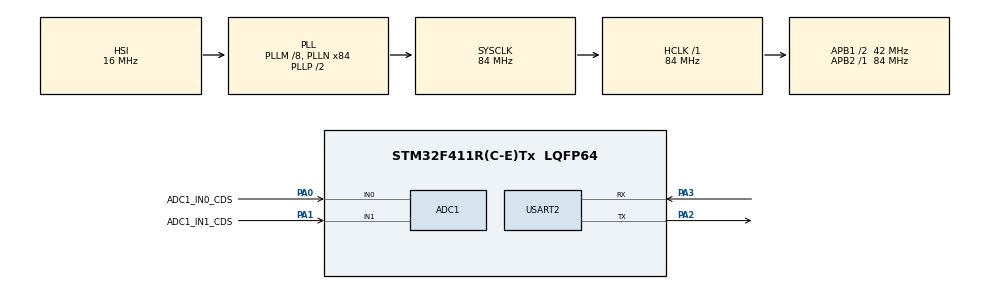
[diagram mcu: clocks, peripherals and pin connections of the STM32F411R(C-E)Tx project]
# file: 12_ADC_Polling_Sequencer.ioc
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ADC1.Channel-0\#ChannelRegularConversion=ADC_CHANNEL_0
ADC1.Channel-1\#ChannelRegularConversion=ADC_CHANNEL_0
ADC1.ContinuousConvMode=ENABLE
ADC1.NbrOfConversion=2
ADC1.NbrOfConversionFlag=1
ADC1.Rank-0\#ChannelRegularConversion=1
ADC1.Rank-1\#ChannelRegularConversion=2
ADC1.SamplingTime-0\#ChannelRegularConversion=ADC_SAMPLETIME_15CYCLES
ADC1.SamplingTime-1\#ChannelRegularConversion=ADC_SAMPLETIME_15CYCLES
ADC1.ScanConvMode=ENABLE
ADC1.master=1
Mcu.Family=STM32F4
Mcu.Name=STM32F411R(C-E)Tx
Mcu.Package=LQFP64
NVIC.PriorityGroup=NVIC_PRIORITYGROUP_4
PA0-WKUP.GPIO_Label=ADC1_IN0_CDS
PA0-WKUP.Signal=ADCx_IN0
PA1.GPIO_Label=ADC1_IN1_CDS
PA1.Signal=ADCx_IN1
PA13.Mode=Serial_Wire
PA13.Signal=SYS_JTMS-SWDIO
PA14.Mode=Serial_Wire
PA14.Signal=SYS_JTCK-SWCLK
PA2.Mode=Asynchronous
PA2.Signal=USART2_TX
PA3.Mode=Asynchronous
PA3.Signal=USART2_RX
ProjectManager.HeapSize=0x200
ProjectManager.StackSize=0x400
ProjectManager.TargetToolchain=STM32CubeIDE
RCC.48MHZClocksFreq_Value=42000000
RCC.AHBFreq_Value=84000000
RCC.APB1CLKDivider=RCC_HCLK_DIV2
RCC.APB1Freq_Value=42000000
RCC.APB1TimFreq_Value=84000000
RCC.APB2Freq_Value=84000000
RCC.APB2TimFreq_Value=84000000
RCC.CortexFreq_Value=84000000
RCC.HCLKFreq_Value=84000000
RCC.HSE_VALUE=25000000
RCC.HSI_VALUE=16000000
RCC.LSE_VALUE=32768
RCC.PLLM=8
RCC.PLLN=84
RCC.SYSCLKFreq_VALUE=84000000
RCC.SYSCLKSource=RCC_SYSCLKSOURCE_PLLCLK
RCC.VCOOutputFreq_Value=168000000
SH.ADCx_IN0.0=ADC1_IN0,IN0
SH.ADCx_IN1.0=ADC1_IN1,IN1
USART2.VirtualMode=VM_ASYNC
board=custom

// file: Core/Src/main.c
/* USER CODE BEGIN Header */
/**
  ******************************************************************************
  * @file           : main.c
  * @brief          : Main program body
  ******************************************************************************
  * @attention
  *
  * Copyright (c) 2024 STMicroelectronics.
  * All rights reserved.
  *
  * This software is licensed under terms that can be found in the LICENSE file
  * in the root directory of this software component.
  * If no LICENSE file comes with this software, it is provided AS-IS.
  *
  ******************************************************************************
  */
/* USER CODE END Header */
#include "main.h"

ADC_HandleTypeDef hadc1;

UART_HandleTypeDef huart2;

void SystemClock_Config(void);
static void MX_GPIO_Init(void);
static void MX_ADC1_Init(void);
static void MX_USART2_UART_Init(void);

/* USER CODE BEGIN 0 */
#ifdef __GNUC__
/* With GCC, small printf (option LD Linker->Libraries->Small printf
 * set to 'Yes') calls __io_putchar()*/
#define PUTCHAR_PROTOTYPE int __io_putchar(int ch)
#else
#define PUTCHAR_PROTOTYPE int fputc(int ch, FILE *f)
#endif /*__GNUC__*/

/**
 * @brief Retargets the C library printf function to the USART.
 * @param None
 * @retval None
 */
PUTCHAR_PROTOTYPE
{
	/*Place your implementation of fputc here */
	/* e.g. write a character to the USART1 and Loop
	 * until the end of transmission */
	if(ch == '/n')
		HAL_UART_Transmit(&huart2, (uint8_t*) "/r", 1, 0xFFFF);
		HAL_UART_Transmit(&huart2, (uint8_t*) &ch, 1, 0xFFFF);

	return ch;
}
/* USER CODE END 0 */

int main(void)
{

  /* MCU Configuration--------------------------------------------------------*/

  /* Reset of all peripherals, Initializes the Flash interface and the Systick. */
  HAL_Init();

  /* Configure the system clock */
  SystemClock_Config();

  /* Initialize all configured peripherals */
  MX_GPIO_Init();
  MX_ADC1_Init();
  MX_USART2_UART_Init();

  /* Infinite loop */
  /* USER CODE BEGIN WHILE */
  uint16_t uwADCxConvertedValue[2];

//  if (HAL_ADCEx_Calibration_Start(&hadc1) != HAL_OK)
//  {
//	  Error_Handler();
//  }
  while (1)
  { // ?�� 모르겠�?�? ??�?
	  // HAL_ADC_PollForConversion ?���? AD�??�� ?��주고, ?��?�� 조건 �??�� ?�� �? 값을 배열?�� ?��?�� 주는구나~ ?���? ?��?���??��
      if (HAL_ADC_Start (&hadc1) != HAL_OK)
        {
          Error_Handler ();
        }

      for (uint8_t i = 0; i < 2; i++)
        {
          HAL_ADC_PollForConversion (&hadc1, 100);

          if ((HAL_ADC_GetState (&hadc1) & HAL_ADC_STATE_REG_EOC) == HAL_ADC_STATE_REG_EOC)
            {
              uwADCxConvertedValue[i] = HAL_ADC_GetValue (&hadc1);
            }
        }

      HAL_ADC_Stop (&hadc1);
    /* USER CODE END WHILE */

    /* USER CODE BEGIN 3 */
      printf ("VAR=%4d, CDS=%4d\n", uwADCxConvertedValue[0], uwADCxConvertedValue[1]);
      HAL_Delay (100);
  }
  /* USER CODE END 3 */
}

void SystemClock_Config(void)
{
  RCC_OscInitTypeDef RCC_OscInitStruct = {0};
  RCC_ClkInitTypeDef RCC_ClkInitStruct = {0};

  /** Configure the main internal regulator output voltage
  */
  __HAL_RCC_PWR_CLK_ENABLE();
  __HAL_PWR_VOLTAGESCALING_CONFIG(PWR_REGULATOR_VOLTAGE_SCALE1);

  /** Initializes the RCC Oscillators according to the specified parameters
  * in the RCC_OscInitTypeDef structure.
  */
  RCC_OscInitStruct.OscillatorType = RCC_OSCILLATORTYPE_HSI;
  RCC_OscInitStruct.HSIState = RCC_HSI_ON;
  RCC_OscInitStruct.HSICalibrationValue = RCC_HSICALIBRATION_DEFAULT;
  RCC_OscInitStruct.PLL.PLLState = RCC_PLL_ON;
  RCC_OscInitStruct.PLL.PLLSource = RCC_PLLSOURCE_HSI;
  RCC_OscInitStruct.PLL.PLLM = 8;
  RCC_OscInitStruct.PLL.PLLN = 84;
  RCC_OscInitStruct.PLL.PLLP = RCC_PLLP_DIV2;
  RCC_OscInitStruct.PLL.PLLQ = 4;
  if (HAL_RCC_OscConfig(&RCC_OscInitStruct) != HAL_OK)
  {
    Error_Handler();
  }

  /** Initializes the CPU, AHB and APB buses clocks
  */
  RCC_ClkInitStruct.ClockType = RCC_CLOCKTYPE_HCLK|RCC_CLOCKTYPE_SYSCLK
                              |RCC_CLOCKTYPE_PCLK1|RCC_CLOCKTYPE_PCLK2;
  RCC_ClkInitStruct.SYSCLKSource = RCC_SYSCLKSOURCE_PLLCLK;
  RCC_ClkInitStruct.AHBCLKDivider = RCC_SYSCLK_DIV1;
  RCC_ClkInitStruct.APB1CLKDivider = RCC_HCLK_DIV2;
  RCC_ClkInitStruct.APB2CLKDivider = RCC_HCLK_DIV1;

  if (HAL_RCC_ClockConfig(&RCC_ClkInitStruct, FLASH_LATENCY_2) != HAL_OK)
  {
    Error_Handler();
  }
}

static void MX_ADC1_Init(void)
{

  ADC_ChannelConfTypeDef sConfig = {0};

  /** Configure the global features of the ADC (Clock, Resolution, Data Alignment and number of conversion)
  */
  hadc1.Instance = ADC1;
  hadc1.Init.ClockPrescaler = ADC_CLOCK_SYNC_PCLK_DIV4;
  hadc1.Init.Resolution = ADC_RESOLUTION_12B;
  hadc1.Init.ScanConvMode = ENABLE;
  hadc1.Init.ContinuousConvMode = ENABLE;
  hadc1.Init.DiscontinuousConvMode = DISABLE;
  hadc1.Init.ExternalTrigConvEdge = ADC_EXTERNALTRIGCONVEDGE_NONE;
  hadc1.Init.ExternalTrigConv = ADC_SOFTWARE_START;
  hadc1.Init.DataAlign = ADC_DATAALIGN_RIGHT;
  hadc1.Init.NbrOfConversion = 2;
  hadc1.Init.DMAContinuousRequests = DISABLE;
  hadc1.Init.EOCSelection = ADC_EOC_SINGLE_CONV;
  if (HAL_ADC_Init(&hadc1) != HAL_OK)
  {
    Error_Handler();
  }

  /** Configure for the selected ADC regular channel its corresponding rank in the sequencer and its sample time.
  */
  sConfig.Channel = ADC_CHANNEL_0;
  sConfig.Rank = 1;
  sConfig.SamplingTime = ADC_SAMPLETIME_15CYCLES;
  if (HAL_ADC_ConfigChannel(&hadc1, &sConfig) != HAL_OK)
  {
    Error_Handler();
  }

  /** Configure for the selected ADC regular channel its corresponding rank in the sequencer and its sample time.
  */
  sConfig.Rank = 2;
  if (HAL_ADC_ConfigChannel(&hadc1, &sConfig) != HAL_OK)
  {
    Error_Handler();
  }

}

static void MX_USART2_UART_Init(void)
{

  huart2.Instance = USART2;
  huart2.Init.BaudRate = 115200;
  huart2.Init.WordLength = UART_WORDLENGTH_8B;
  huart2.Init.StopBits = UART_STOPBITS_1;
  huart2.Init.Parity = UART_PARITY_NONE;
  huart2.Init.Mode = UART_MODE_TX_RX;
  huart2.Init.HwFlowCtl = UART_HWCONTROL_NONE;
  huart2.Init.OverSampling = UART_OVERSAMPLING_16;
  if (HAL_UART_Init(&huart2) != HAL_OK)
  {
    Error_Handler();
  }

}

static void MX_GPIO_Init(void)
{

  /* GPIO Ports Clock Enable */
  __HAL_RCC_GPIOA_CLK_ENABLE();

}

void Error_Handler(void)
{
  __disable_irq();
  while (1)
  {
  }
}
